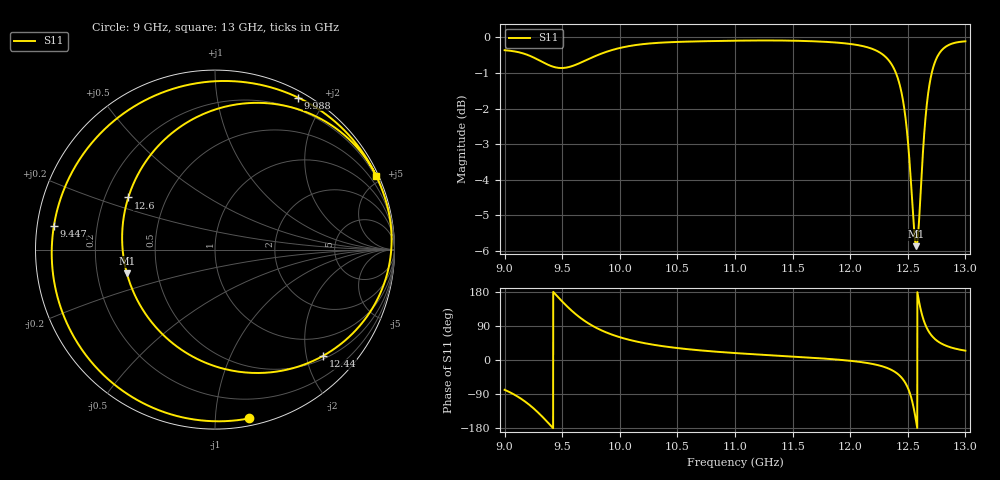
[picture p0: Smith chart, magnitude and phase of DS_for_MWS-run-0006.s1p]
! TOUCHSTONE file generated by CST DESIGN STUDIO
! Date and time: Tue Feb  4 13:14:53 2025
! Project name: C:\Work\MatlabApps\UnitCellOptimizationMatlab\CST\unitcell.cst
! Tree item: Tasks\Sweep1\SPara1\S-Parameters
! Header version: 2024
! Port assignment regex: !\s*Touchstone port\s*([0-9]+)\s*=\s*(CST MWS port|CST DES external port|CST DES block port)\s*(.+)\s* \(\"(.*)\"\)(\s*mode\s*([0-9]+))?.*
! Touchstone port assignment:
! Touchstone port 1 = CST DES external port 1 ("")
# GHz S MA R 50
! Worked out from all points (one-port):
!   4001 points, 9 GHz to 13 GHz, reference 50 ohm
!   lowest |S11| = -5.9 dB at 12.57 GHz (marker M1), VSWR 3.07, Z = 16.5 - j5.89 ohm
!   |S11| at or under -10 dB: nowhere
!   S11 on the Smith chart (normalised r, x): 9 GHz: 0.05, -1.22; 9.447 GHz: 0.05, +0.07; 9.988 GHz: 0.07, +1.69; 12.44 GHz: 0.56, -2.33; 12.6 GHz: 0.30, +0.25; 13 GHz: 0.14, +4.57
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9  0.9595 -78.7
9.132  0.9524 -100.1
9.233  0.9401 -122.9
9.352  0.9194 -157.4
9.447  0.9073 171.5
9.5  0.9057 154.4
9.595  0.9124 126.7
9.694  0.9269 103.3
9.837  0.9485 78.8
9.988  0.9654 61.3
10  0.9664 60.2
10.215  0.9791 44.4
10.5  0.9856 31.5
11  0.9895 18.3
11.5  0.9895 9.1
12  0.9792 -2.1
12.302  0.9406 -19.0
12.44  0.8445 -44.5
12.5  0.7177 -73.2
12.538  0.5877 -108.8
12.574  0.5086 -165.0
12.601  0.5637 149.0
12.63  0.6832 112.4
12.659  0.7874 88.4
12.704  0.8856 65.5
12.753  0.9372 50.9
12.849  0.9747 35.7
13  0.9875 24.6
